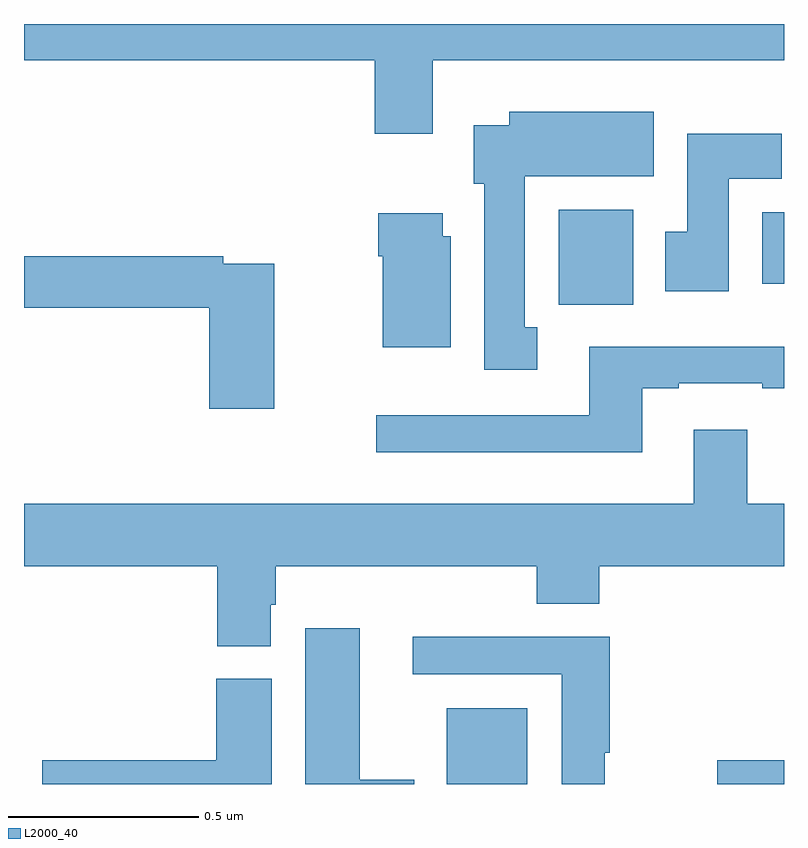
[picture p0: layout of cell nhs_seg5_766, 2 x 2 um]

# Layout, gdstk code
import gdstk
lib = gdstk.Library(unit=1e-6, precision=1e-09)
def R(c, l, rs):  # rectangles x0, y0, x1, y1
    for r in rs: c.add(gdstk.rectangle(r[:2], r[2:], *l))
def P(c, l, *ps):  # polygons
    for p in ps: c.add(gdstk.Polygon(p, *l))
L2000_40 = (2000, 40)

nhs_seg5_766 = lib.new_cell('nhs_seg5_766')
R(nhs_seg5_766, L2000_40, [(121.112,910.799,121.324,910.999), (121.824,910.799,122,910.862), (121.407,912.06,121.603,912.31), (121.943,912.116,122,912.304)])
P(nhs_seg5_766, L2000_40, [(121.075,912.704),(122,912.704),(122,912.799),(120,912.799),(120,912.704),(120.923,912.704),(120.923,912.51),(121.075,912.51)],
  [(121.351,912.001),(121.318,912.001),(121.318,912.398),(121.657,912.398),(121.657,912.568),(121.277,912.568),(121.277,912.532),(121.184,912.532),(121.184,912.378),(121.211,912.378),(121.211,911.889),(121.351,911.889)],
  [(121.855,912.392),(121.994,912.392),(121.994,912.51),(121.745,912.51),(121.745,912.252),(121.688,912.252),(121.688,912.096),(121.855,912.096)],
  [(121.123,912.24),(121.102,912.24),(121.102,912.301),(120.932,912.301),(120.932,912.188),(120.944,912.188),(120.944,911.948),(121.123,911.948)],
  [(120.658,912.168),(120.524,912.168),(120.524,912.188),(120,912.188),(120,912.052),(120.488,912.052),(120.488,911.787),(120.658,911.787)],
  [(121.627,911.841),(121.723,911.841),(121.723,911.853),(121.943,911.853),(121.943,911.841),(122,911.841),(122,911.95),(121.487,911.95),(121.487,911.769),(120.927,911.769),(120.927,911.672),(121.627,911.672)],
  [(120.649,911.271),(120.662,911.271),(120.662,911.372),(121.349,911.372),(121.349,911.273),(121.514,911.273),(121.514,911.372),(122,911.372),(122,911.536),(121.903,911.536),(121.903,911.731),(121.763,911.731),(121.763,911.536),(120,911.536),(120,911.372),(120.509,911.372),(120.509,911.161),(120.649,911.161)],
  [(121.027,910.81),(120.883,910.81),(120.883,911.209),(120.74,911.209),(120.74,910.799),(121.027,910.799)],
  [(121.528,910.881),(121.541,910.881),(121.541,911.186),(121.023,911.186),(121.023,911.088),(121.415,911.088),(121.415,910.799),(121.528,910.799)],
  [(120.652,911.076),(120.506,911.076),(120.506,910.862),(120.048,910.862),(120.048,910.799),(120.652,910.799)])

lib.write_gds('nhs_seg5_766.gds')
